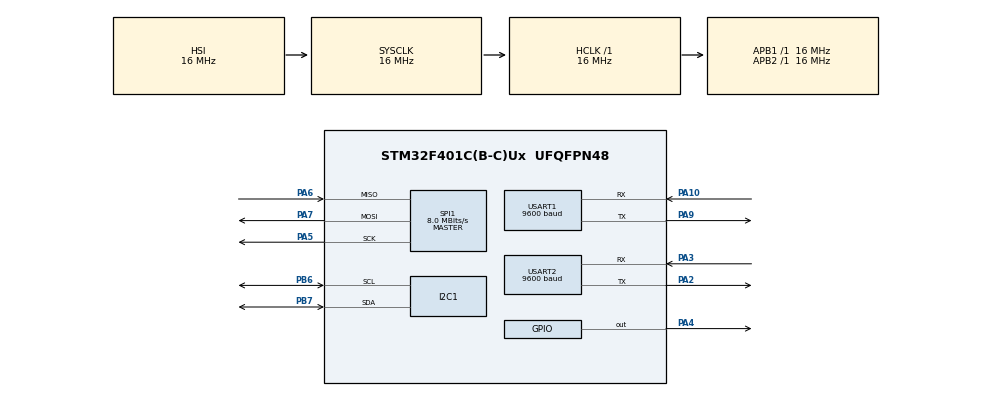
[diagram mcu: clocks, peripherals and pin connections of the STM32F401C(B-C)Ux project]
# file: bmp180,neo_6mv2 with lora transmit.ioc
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FATFS._MAX_SS=4096
FATFS._USE_LFN=1
I2C1.I2C_Mode=I2C_Fast
Mcu.Family=STM32F4
Mcu.Name=STM32F401C(B-C)Ux
Mcu.Package=UFQFPN48
NVIC.PriorityGroup=NVIC_PRIORITYGROUP_4
PA10.Mode=Asynchronous
PA10.Signal=USART1_RX
PA13.Mode=Serial_Wire
PA13.Signal=SYS_JTMS-SWDIO
PA14.Mode=Serial_Wire
PA14.Signal=SYS_JTCK-SWCLK
PA2.Mode=Asynchronous
PA2.Signal=USART2_TX
PA3.Mode=Asynchronous
PA3.Signal=USART2_RX
PA4.Signal=GPIO_Output
PA5.Mode=Full_Duplex_Master
PA5.Signal=SPI1_SCK
PA6.Mode=Full_Duplex_Master
PA6.Signal=SPI1_MISO
PA7.Mode=Full_Duplex_Master
PA7.Signal=SPI1_MOSI
PA9.Mode=Asynchronous
PA9.Signal=USART1_TX
PB6.Mode=I2C
PB6.Signal=I2C1_SCL
PB7.Mode=I2C
PB7.Signal=I2C1_SDA
PH0\ -\ OSC_IN.Mode=HSE-External-Oscillator
PH0\ -\ OSC_IN.Signal=RCC_OSC_IN
PH1\ -\ OSC_OUT.Mode=HSE-External-Oscillator
PH1\ -\ OSC_OUT.Signal=RCC_OSC_OUT
ProjectManager.HeapSize=0x200
ProjectManager.StackSize=0x400
ProjectManager.TargetToolchain=STM32CubeIDE
RCC.AHBFreq_Value=16000000
RCC.APB1Freq_Value=16000000
RCC.APB2Freq_Value=16000000
RCC.CortexFreq_Value=16000000
RCC.HSE_VALUE=25000000
RCC.HSI_VALUE=16000000
RCC.LSE_VALUE=32768
RCC.SYSCLKFreq_VALUE=16000000
RCC.VCOOutputFreq_Value=192000000
SPI1.CalculateBaudRate=8.0 MBits/s
SPI1.Direction=SPI_DIRECTION_2LINES
SPI1.Mode=SPI_MODE_MASTER
SPI1.VirtualType=VM_MASTER
USART1.BaudRate=9600
USART1.VirtualMode=VM_ASYNC
USART2.BaudRate=9600
USART2.VirtualMode=VM_ASYNC
VP_FATFS_VS_Generic.Mode=User_defined
VP_TIM2_VS_ClockSourceINT.Mode=Internal
board=custom

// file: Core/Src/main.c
#include "BMP180.h" /* bmp 180 , lwggps headerları kaynak olarak eklendi*/
#include "main.h"

#include "lwgps/lwgps.h"

I2C_HandleTypeDef hi2c1;

SPI_HandleTypeDef hspi1;

TIM_HandleTypeDef htim2;

UART_HandleTypeDef huart1;
UART_HandleTypeDef huart2;

void SystemClock_Config(void);
static void MX_GPIO_Init(void);
static void MX_I2C1_Init(void);
static void MX_TIM2_Init(void);
static void MX_USART1_UART_Init(void);
static void MX_USART2_UART_Init(void);
static void MX_SPI1_Init(void);
/* USER CODE BEGIN PFP */
lwgps_t gps;

uint8_t rx_buffer[128];
uint8_t rx_index = 0;
uint8_t rx_data = 0;
void HAL_UART_RxCpltCallback(UART_HandleTypeDef *huart)
{
	if(huart == &huart2) {
		if(rx_data != '\n' && rx_index < sizeof(rx_buffer)) {
			rx_buffer[rx_index++] = rx_data;
		} else {
			lwgps_process(&gps, rx_buffer, rx_index+1);
			rx_index = 0;
			rx_data = 0;
		}
		HAL_UART_Receive_IT(&huart2, &rx_data, 1);
	}
}

/* USER CODE END PFP */

int main(void)
{

  /* MCU Configuration--------------------------------------------------------*/

  /* Reset of all peripherals, Initializes the Flash interface and the Systick. */
  HAL_Init();

  /* Configure the system clock */
  SystemClock_Config();

  /* Initialize all configured peripherals */
  MX_GPIO_Init();
  MX_I2C1_Init();
  MX_TIM2_Init();
  MX_USART1_UART_Init();
  MX_USART2_UART_Init();
  lwgps_init(&gps);
    HAL_UART_Receive_IT(&huart2, &rx_data, 1);
  MX_SPI1_Init();

  BMP180_Start();

  /* Infinite loop */
  /* USER CODE BEGIN WHILE */
  uint8_t trans[2];
  float sicaklik,basinc,yukseklik;
  while (1)

  {
	  sicaklik=BMP180_GetTemp();
	  basinc=BMP180_GetPress(0);
	  yukseklik=BMP180_GetAlt(0);
	  HAL_Delay(2000);
	  trans[2]=sicaklik;
	  trans[1]=basinc;
	  trans[0]=yukseklik;

	  HAL_UART_Transmit(&huart1,(uint8_t *)trans,sizeof(trans),100);
	  HAL_Delay(500);
	  HAL_UART_Transmit(&huart1,&rx_data,sizeof(rx_buffer),100);} /* https://www.disca.upv.es/aperles/
	  arm_cortex_m3/llibre/st/STM32F439xx_User_Manual/group__uart__exported__functions__group2
	  .html#ga210329848c1873957034e129ccf8944e
	 ** linkinde hal fonksiyonlarındaki transmitter receiver yapı biçimleri yazıyor.

	  */
    /* USER CODE END WHILE */

}

void SystemClock_Config(void)
{
  RCC_OscInitTypeDef RCC_OscInitStruct = {0};
  RCC_ClkInitTypeDef RCC_ClkInitStruct = {0};

  /** Configure the main internal regulator output voltage
  */
  __HAL_RCC_PWR_CLK_ENABLE();
  __HAL_PWR_VOLTAGESCALING_CONFIG(PWR_REGULATOR_VOLTAGE_SCALE2);

  /** Initializes the RCC Oscillators according to the specified parameters
  * in the RCC_OscInitTypeDef structure.
  */
  RCC_OscInitStruct.OscillatorType = RCC_OSCILLATORTYPE_HSI;
  RCC_OscInitStruct.HSIState = RCC_HSI_ON;
  RCC_OscInitStruct.HSICalibrationValue = RCC_HSICALIBRATION_DEFAULT;
  RCC_OscInitStruct.PLL.PLLState = RCC_PLL_NONE;
  if (HAL_RCC_OscConfig(&RCC_OscInitStruct) != HAL_OK)
  {
    Error_Handler();
  }

  /** Initializes the CPU, AHB and APB buses clocks
  */
  RCC_ClkInitStruct.ClockType = RCC_CLOCKTYPE_HCLK|RCC_CLOCKTYPE_SYSCLK
                              |RCC_CLOCKTYPE_PCLK1|RCC_CLOCKTYPE_PCLK2;
  RCC_ClkInitStruct.SYSCLKSource = RCC_SYSCLKSOURCE_HSI;
  RCC_ClkInitStruct.AHBCLKDivider = RCC_SYSCLK_DIV1;
  RCC_ClkInitStruct.APB1CLKDivider = RCC_HCLK_DIV1;
  RCC_ClkInitStruct.APB2CLKDivider = RCC_HCLK_DIV1;

  if (HAL_RCC_ClockConfig(&RCC_ClkInitStruct, FLASH_LATENCY_0) != HAL_OK)
  {
    Error_Handler();
  }
}

static void MX_I2C1_Init(void)
{

  hi2c1.Instance = I2C1;
  hi2c1.Init.ClockSpeed = 400000;
  hi2c1.Init.DutyCycle = I2C_DUTYCYCLE_2;
  hi2c1.Init.OwnAddress1 = 0;
  hi2c1.Init.AddressingMode = I2C_ADDRESSINGMODE_7BIT;
  hi2c1.Init.DualAddressMode = I2C_DUALADDRESS_DISABLE;
  hi2c1.Init.OwnAddress2 = 0;
  hi2c1.Init.GeneralCallMode = I2C_GENERALCALL_DISABLE;
  hi2c1.Init.NoStretchMode = I2C_NOSTRETCH_DISABLE;
  if (HAL_I2C_Init(&hi2c1) != HAL_OK)
  {
    Error_Handler();
  }

}

static void MX_SPI1_Init(void)
{

  /* SPI1 parameter configuration*/
  hspi1.Instance = SPI1;
  hspi1.Init.Mode = SPI_MODE_MASTER;
  hspi1.Init.Direction = SPI_DIRECTION_2LINES;
  hspi1.Init.DataSize = SPI_DATASIZE_8BIT;
  hspi1.Init.CLKPolarity = SPI_POLARITY_LOW;
  hspi1.Init.CLKPhase = SPI_PHASE_1EDGE;
  hspi1.Init.NSS = SPI_NSS_SOFT;
  hspi1.Init.BaudRatePrescaler = SPI_BAUDRATEPRESCALER_2;
  hspi1.Init.FirstBit = SPI_FIRSTBIT_MSB;
  hspi1.Init.TIMode = SPI_TIMODE_DISABLE;
  hspi1.Init.CRCCalculation = SPI_CRCCALCULATION_DISABLE;
  hspi1.Init.CRCPolynomial = 10;
  if (HAL_SPI_Init(&hspi1) != HAL_OK)
  {
    Error_Handler();
  }

}

static void MX_TIM2_Init(void)
{

  TIM_ClockConfigTypeDef sClockSourceConfig = {0};
  TIM_MasterConfigTypeDef sMasterConfig = {0};

  htim2.Instance = TIM2;
  htim2.Init.Prescaler = 0;
  htim2.Init.CounterMode = TIM_COUNTERMODE_UP;
  htim2.Init.Period = 4294967295;
  htim2.Init.ClockDivision = TIM_CLOCKDIVISION_DIV1;
  htim2.Init.AutoReloadPreload = TIM_AUTORELOAD_PRELOAD_DISABLE;
  if (HAL_TIM_Base_Init(&htim2) != HAL_OK)
  {
    Error_Handler();
  }
  sClockSourceConfig.ClockSource = TIM_CLOCKSOURCE_INTERNAL;
  if (HAL_TIM_ConfigClockSource(&htim2, &sClockSourceConfig) != HAL_OK)
  {
    Error_Handler();
  }
  sMasterConfig.MasterOutputTrigger = TIM_TRGO_RESET;
  sMasterConfig.MasterSlaveMode = TIM_MASTERSLAVEMODE_DISABLE;
  if (HAL_TIMEx_MasterConfigSynchronization(&htim2, &sMasterConfig) != HAL_OK)
  {
    Error_Handler();
  }

}

static void MX_USART1_UART_Init(void)
{

  huart1.Instance = USART1;
  huart1.Init.BaudRate = 9600;
  huart1.Init.WordLength = UART_WORDLENGTH_8B;
  huart1.Init.StopBits = UART_STOPBITS_1;
  huart1.Init.Parity = UART_PARITY_NONE;
  huart1.Init.Mode = UART_MODE_TX_RX;
  huart1.Init.HwFlowCtl = UART_HWCONTROL_NONE;
  huart1.Init.OverSampling = UART_OVERSAMPLING_16;
  if (HAL_UART_Init(&huart1) != HAL_OK)
  {
    Error_Handler();
  }

}

static void MX_USART2_UART_Init(void)
{

  huart2.Instance = USART2;
  huart2.Init.BaudRate = 9600;
  huart2.Init.WordLength = UART_WORDLENGTH_8B;
  huart2.Init.StopBits = UART_STOPBITS_1;
  huart2.Init.Parity = UART_PARITY_NONE;
  huart2.Init.Mode = UART_MODE_TX_RX;
  huart2.Init.HwFlowCtl = UART_HWCONTROL_NONE;
  huart2.Init.OverSampling = UART_OVERSAMPLING_16;
  if (HAL_UART_Init(&huart2) != HAL_OK)
  {
    Error_Handler();
  }

}

static void MX_GPIO_Init(void)
{
  GPIO_InitTypeDef GPIO_InitStruct = {0};

  /* GPIO Ports Clock Enable */
  __HAL_RCC_GPIOH_CLK_ENABLE();
  __HAL_RCC_GPIOA_CLK_ENABLE();
  __HAL_RCC_GPIOB_CLK_ENABLE();

  /*Configure GPIO pin Output Level */
  HAL_GPIO_WritePin(GPIOA, GPIO_PIN_4, GPIO_PIN_RESET);

  /*Configure GPIO pin : PA4 */
  GPIO_InitStruct.Pin = GPIO_PIN_4;
  GPIO_InitStruct.Mode = GPIO_MODE_OUTPUT_PP;
  GPIO_InitStruct.Pull = GPIO_NOPULL;
  GPIO_InitStruct.Speed = GPIO_SPEED_FREQ_LOW;
  HAL_GPIO_Init(GPIOA, &GPIO_InitStruct);

}

void Error_Handler(void)
{
  __disable_irq();
  while (1)
  {
  }
}
